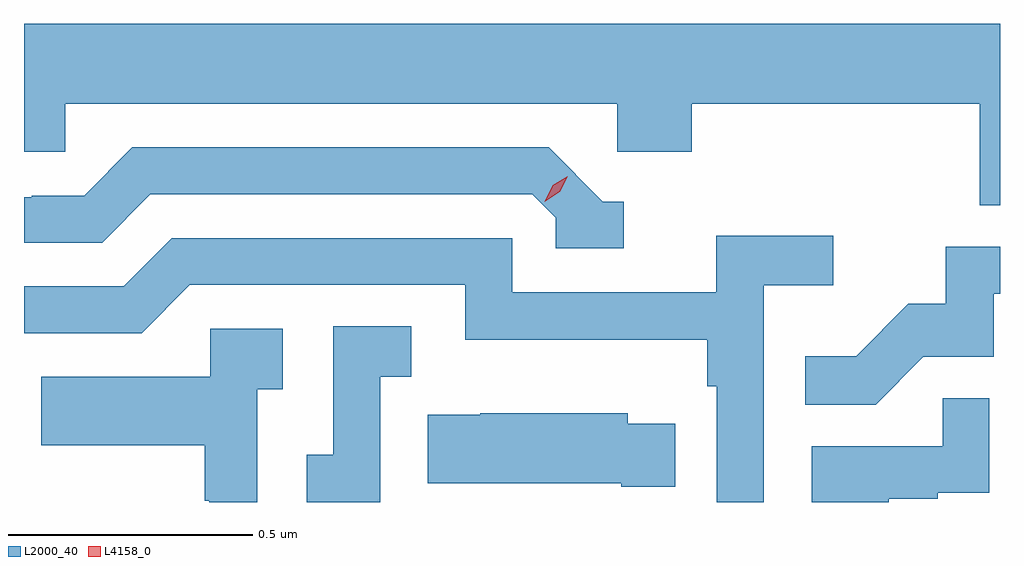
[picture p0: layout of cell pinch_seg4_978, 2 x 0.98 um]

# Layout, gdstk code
import gdstk
lib = gdstk.Library(unit=1e-6, precision=1e-09)
def P(c, l, *ps):  # polygons
    for p in ps: c.add(gdstk.Polygon(p, *l))
L2000_40 = (2000, 40)
L4158_0 = (4158, 0)

pinch_seg4_978 = lib.new_cell('pinch_seg4_978')
P(pinch_seg4_978, L2000_40, [(893.89,770.344),(891.89,770.344),(891.89,770.082),(891.975,770.082),(891.975,770.18),(893.106,770.18),(893.106,770.082),(893.258,770.082),(893.258,770.18),(893.849,770.18),(893.849,769.972),(893.89,769.972)],
  [(893.119,769.98),(893.076,769.98),(892.965,770.091),(892.112,770.091),(892.013,769.992),(891.906,769.992),(891.906,769.989),(891.89,769.989),(891.89,769.896),(892.05,769.896),(892.149,769.995),(892.932,769.995),(892.98,769.947),(892.98,769.884),(893.119,769.884)],
  [(893.406,769.808),(893.548,769.808),(893.548,769.91),(893.309,769.91),(893.309,769.794),(892.89,769.794),(892.89,769.905),(892.193,769.905),(892.094,769.806),(891.89,769.806),(891.89,769.71),(892.131,769.71),(892.23,769.809),(892.794,769.809),(892.794,769.697),(893.29,769.697),(893.29,769.601),(893.31,769.601),(893.31,769.364),(893.406,769.364)],
  [(893.733,769.662),(893.877,769.662),(893.877,769.791),(893.89,769.791),(893.89,769.887),(893.779,769.887),(893.779,769.77),(893.702,769.77),(893.595,769.663),(893.491,769.663),(893.491,769.564),(893.635,769.564)],
  [(892.62,769.621),(892.684,769.621),(892.684,769.724),(892.524,769.724),(892.524,769.461),(892.469,769.461),(892.469,769.364),(892.62,769.364)],
  [(892.368,769.595),(892.42,769.595),(892.42,769.719),(892.272,769.719),(892.272,769.621),(891.925,769.621),(891.925,769.481),(892.26,769.481),(892.26,769.367),(892.27,769.367),(892.27,769.364),(892.368,769.364)],
  [(893.662,769.371),(893.762,769.371),(893.762,769.383),(893.868,769.383),(893.868,769.577),(893.773,769.577),(893.773,769.479),(893.504,769.479),(893.504,769.364),(893.662,769.364)],
  [(893.225,769.525),(893.127,769.525),(893.127,769.546),(892.825,769.546),(892.825,769.543),(892.717,769.543),(892.717,769.403),(893.114,769.403),(893.114,769.396),(893.225,769.396)])
P(pinch_seg4_978, L4158_0, [(892.957,769.98),(892.957,769.981),(892.973,770.013),(893.004,770.032),(893.004,770.032),(893.004,770.032),(892.988,770),(892.957,769.98)])

lib.write_gds('pinch_seg4_978.gds')
